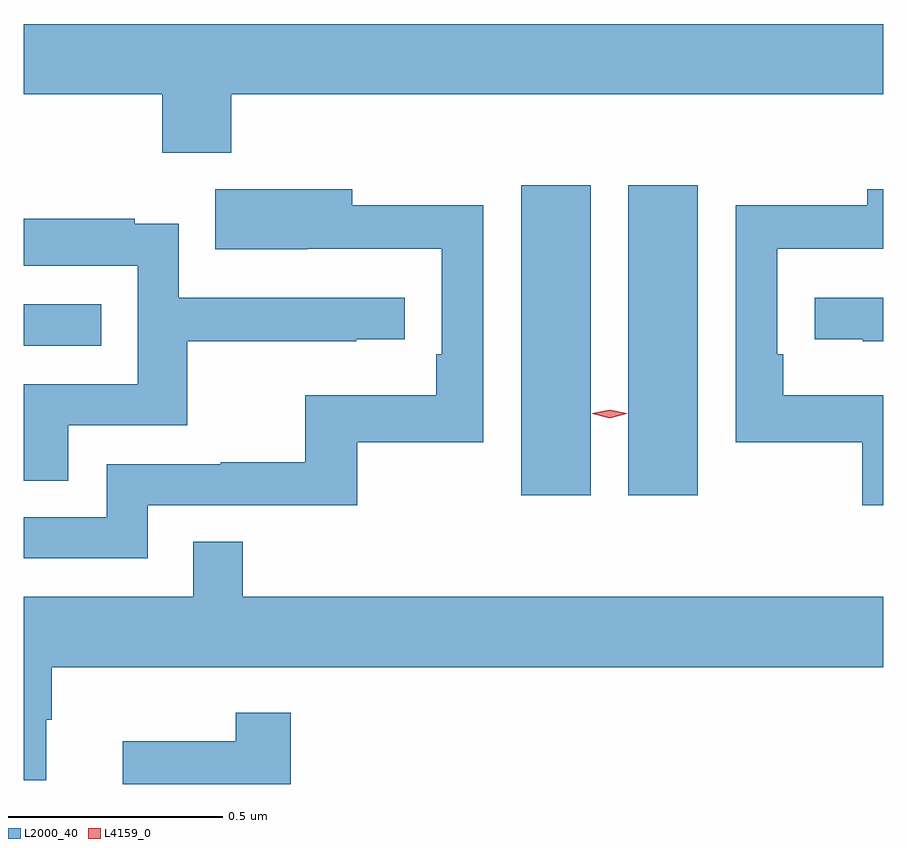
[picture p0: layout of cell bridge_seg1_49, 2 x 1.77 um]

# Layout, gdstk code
import gdstk
lib = gdstk.Library(unit=1e-6, precision=1e-09)
def R(c, l, rs):  # rectangles x0, y0, x1, y1
    for r in rs: c.add(gdstk.rectangle(r[:2], r[2:], *l))
def P(c, l, *ps):  # polygons
    for p in ps: c.add(gdstk.Polygon(p, *l))
L2000_40 = (2000, 40)
L4159_0 = (4159, 0)

bridge_seg1_49 = lib.new_cell('bridge_seg1_49')
R(bridge_seg1_49, L2000_40, [(1087.073,546.804,1087.234,547.525), (1087.322,546.804,1087.483,547.525), (1085.915,547.152,1086.095,547.248)])
P(bridge_seg1_49, L2000_40, [(1086.398,547.736),(1087.915,547.736),(1087.915,547.9),(1085.915,547.9),(1085.915,547.736),(1086.238,547.736),(1086.238,547.601),(1086.398,547.601)],
  [(1086.204,546.78),(1086.691,546.78),(1086.691,546.927),(1086.984,546.927),(1086.984,547.478),(1086.679,547.478),(1086.679,547.516),(1086.361,547.516),(1086.361,547.376),(1086.575,547.376),(1086.575,547.377),(1086.888,547.377),(1086.888,547.132),(1086.875,547.132),(1086.875,547.036),(1086.57,547.036),(1086.57,546.881),(1086.373,546.881),(1086.373,546.876),(1086.108,546.876),(1086.108,546.753),(1085.915,546.753),(1085.915,546.657),(1086.204,546.657)],
  [(1087.915,547.036),(1087.682,547.036),(1087.682,547.132),(1087.668,547.132),(1087.668,547.377),(1087.915,547.377),(1087.915,547.516),(1087.877,547.516),(1087.877,547.478),(1087.572,547.478),(1087.572,546.927),(1087.866,546.927),(1087.866,546.78),(1087.915,546.78)],
  [(1086.019,546.966),(1086.296,546.966),(1086.296,547.162),(1086.689,547.162),(1086.689,547.167),(1086.802,547.167),(1086.802,547.263),(1086.276,547.263),(1086.276,547.435),(1086.173,547.435),(1086.173,547.447),(1085.915,547.447),(1085.915,547.338),(1086.18,547.338),(1086.18,547.062),(1085.915,547.062),(1085.915,546.838),(1086.019,546.838)],
  [(1087.915,547.263),(1087.755,547.263),(1087.755,547.167),(1087.867,547.167),(1087.867,547.162),(1087.915,547.162)],
  [(1085.968,546.281),(1085.98,546.281),(1085.98,546.404),(1087.915,546.404),(1087.915,546.568),(1086.425,546.568),(1086.425,546.695),(1086.309,546.695),(1086.309,546.568),(1085.915,546.568),(1085.915,546.141),(1085.968,546.141)],
  [(1086.536,546.298),(1086.408,546.298),(1086.408,546.232),(1086.146,546.232),(1086.146,546.132),(1086.536,546.132)])
P(bridge_seg1_49, L4159_0, [(1087.278,546.983),(1087.238,546.993),(1087.238,546.993),(1087.238,546.994),(1087.278,547.003),(1087.318,546.994),(1087.318,546.993),(1087.318,546.993)])

lib.write_gds('bridge_seg1_49.gds')
